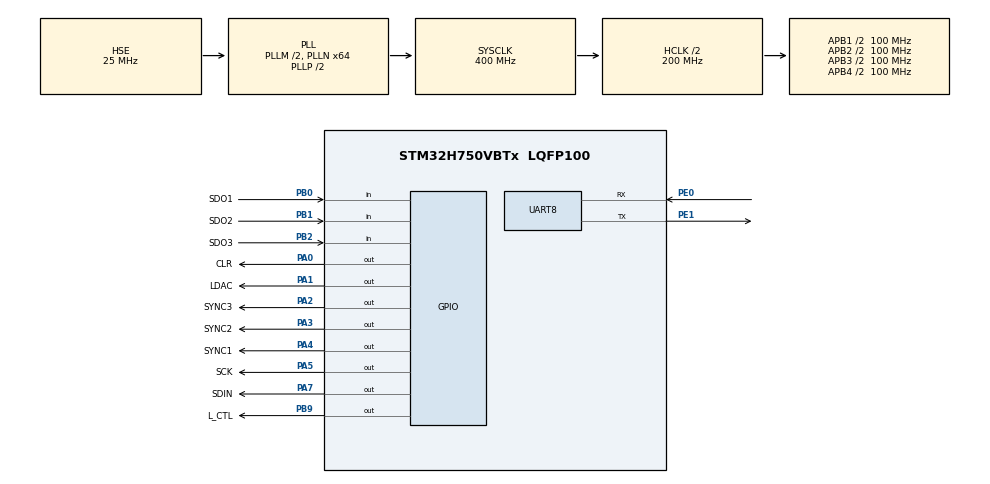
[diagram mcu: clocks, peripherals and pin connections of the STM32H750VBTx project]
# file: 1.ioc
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Mcu.Family=STM32H7
Mcu.Name=STM32H750VBTx
Mcu.Package=LQFP100
NVIC.PriorityGroup=NVIC_PRIORITYGROUP_4
NVIC.TIM2_IRQn=true\:0\:0\:false\:false\:true\:true\:true\:true
PA0.GPIO_Label=CLR
PA0.GPIO_PuPd=GPIO_PULLUP
PA0.GPIO_Speed=GPIO_SPEED_FREQ_HIGH
PA0.PinState=GPIO_PIN_RESET
PA0.Signal=GPIO_Output
PA1.GPIO_Label=LDAC
PA1.GPIO_PuPd=GPIO_PULLDOWN
PA1.GPIO_Speed=GPIO_SPEED_FREQ_HIGH
PA1.Signal=GPIO_Output
PA2.GPIO_Label=SYNC3
PA2.GPIO_PuPd=GPIO_PULLUP
PA2.GPIO_Speed=GPIO_SPEED_FREQ_HIGH
PA2.PinState=GPIO_PIN_RESET
PA2.Signal=GPIO_Output
PA3.GPIO_Label=SYNC2
PA3.GPIO_PuPd=GPIO_PULLUP
PA3.GPIO_Speed=GPIO_SPEED_FREQ_HIGH
PA3.PinState=GPIO_PIN_RESET
PA3.Signal=GPIO_Output
PA4.GPIO_Label=SYNC1
PA4.GPIO_PuPd=GPIO_PULLUP
PA4.GPIO_Speed=GPIO_SPEED_FREQ_HIGH
PA4.PinState=GPIO_PIN_RESET
PA4.Signal=GPIO_Output
PA5.GPIO_Label=SCK
PA5.Signal=GPIO_Output
PA7.GPIO_Label=SDIN
PA7.Signal=GPIO_Output
PB0.GPIO_Label=SDO1
PB0.GPIO_PuPd=GPIO_NOPULL
PB0.Signal=GPIO_Input
PB1.GPIO_Label=SDO2
PB1.Signal=GPIO_Input
PB2.GPIO_Label=SDO3
PB2.Signal=GPIO_Input
PB9.GPIO_Label=L_CTL
PB9.GPIO_PuPd=GPIO_PULLDOWN
PB9.GPIO_Speed=GPIO_SPEED_FREQ_HIGH
PB9.PinState=GPIO_PIN_RESET
PB9.Signal=GPIO_Output
PC14-OSC32_IN\ (OSC32_IN).Mode=LSE-External-Oscillator
PC14-OSC32_IN\ (OSC32_IN).Signal=RCC_OSC32_IN
PC15-OSC32_OUT\ (OSC32_OUT).Mode=LSE-External-Oscillator
PC15-OSC32_OUT\ (OSC32_OUT).Signal=RCC_OSC32_OUT
PE0.Mode=Asynchronous
PE0.Signal=UART8_RX
PE1.Mode=Asynchronous
PE1.Signal=UART8_TX
PH0-OSC_IN\ (PH0).Mode=HSE-External-Oscillator
PH0-OSC_IN\ (PH0).Signal=RCC_OSC_IN
PH1-OSC_OUT\ (PH1).Mode=HSE-External-Oscillator
PH1-OSC_OUT\ (PH1).Signal=RCC_OSC_OUT
ProjectManager.HeapSize=0x200
ProjectManager.StackSize=0x400
ProjectManager.TargetToolchain=STM32CubeIDE
RCC.ADCFreq_Value=50390625
RCC.APB1Freq_Value=100000000
RCC.APB2Freq_Value=100000000
RCC.APB3Freq_Value=100000000
RCC.APB4Freq_Value=100000000
RCC.CortexFreq_Value=400000000
RCC.D1PPRE=RCC_APB3_DIV2
RCC.D2PPRE1=RCC_APB1_DIV2
RCC.D2PPRE2=RCC_APB2_DIV2
RCC.D3PPRE=RCC_APB4_DIV2
RCC.DIVM1=2
RCC.DIVN1=64
RCC.HCLKFreq_Value=200000000
RCC.HPRE=RCC_HCLK_DIV2
RCC.HSE_VALUE=25000000
RCC.PLL2FRACN=0
RCC.PLL3FRACN=0
RCC.PLLFRACN=0
RCC.PLLSourceVirtual=RCC_PLLSOURCE_HSE
RCC.SYSCLKFreq_VALUE=400000000
RCC.SYSCLKSource=RCC_SYSCLKSOURCE_PLLCLK
RCC.USBFreq_Value=400000000
TIM2.Period=10000 - 1
TIM2.Prescaler=200 - 1
VP_TIM2_VS_ClockSourceINT.Mode=Internal
board=custom

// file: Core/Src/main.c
/* USER CODE BEGIN Header */
/**
  ******************************************************************************
  * @file           : main.c
  * @brief          : Main program body
  ******************************************************************************
  * @attention
  *
  * Copyright (c) 2025 STMicroelectronics.
  * All rights reserved.
  *
  * This software is licensed under terms that can be found in the LICENSE file
  * in the root directory of this software component.
  * If no LICENSE file comes with this software, it is provided AS-IS.
  *
  ******************************************************************************
  */
/* USER CODE END Header */
#include "main.h"
#include "tim.h"
#include "usart.h"
#include "gpio.h"

/* USER CODE BEGIN PTD */
uint32_t uwTick1[12];
uint16_t DAC_HIGH_COUNT[12];
uint16_t DAC_LOW_COUNT[12];
//各个DAC通道的选择
long int DAC_Channel[4];
long int DAC_HIGH_Value[12];
long int DAC_LOW_Value[12];
//片选端口
uint16_t DAC_CS_Port[3];
/* USER CODE END PTD */

void SystemClock_Config(void);

int main(void)
{

  /* MCU Configuration--------------------------------------------------------*/

  /* Reset of all peripherals, Initializes the Flash interface and the Systick. */
  HAL_Init();

  /* Configure the system clock */
  SystemClock_Config();

  /* Initialize all configured peripherals */
  MX_GPIO_Init();
  MX_UART8_Init();
  MX_TIM2_Init();
  /* USER CODE BEGIN 2 */
    for (int i = 0; i < 12; ++i) {
        DAC_HIGH_COUNT[i] = 100;
        DAC_LOW_COUNT[i] = 200;
        DAC_HIGH_Value[i] = 0x008000;
        DAC_LOW_Value[i] = 0x000000;
        uwTick1[i] = 0;
    }
    DAC_CS_Port[0] = SYNC1_Pin;
    DAC_CS_Port[1] = SYNC2_Pin;
    DAC_CS_Port[2] = SYNC3_Pin;
    DAC_Channel[0] = DAC_Channel_A;
    DAC_Channel[1] = DAC_Channel_B;
    DAC_Channel[2] = DAC_Channel_C;
    DAC_Channel[3] = DAC_Channel_D;
    HAL_GPIO_WritePin(CLR_GPIO_Port, CLR_Pin, GPIO_PIN_SET);
    long int cstr = 0;
    ConfigAD5754R();
  /* USER CODE END 2 */

  /* Infinite loop */
  while (1)
  {

    /* USER CODE BEGIN 3 */
      for (int i = 0; i < 12; ++i) {
          if (uwTick1[i] == DAC_HIGH_COUNT[i]) {
              cstr = DAC_Register | DAC_Channel[i % 4] | DAC_HIGH_Value[i];
              WriteToAD5754RViaSpi(&cstr);
          } else if (uwTick1[i] == DAC_LOW_COUNT[i]){
              cstr = DAC_Register | DAC_Channel[i % 4] | DAC_LOW_Value[i];		//VoutA=0v
              WriteToAD5754RViaSpi(&cstr);
              uwTick1[i] = 0;
          }
      }
  }
  /* USER CODE END 3 */
}

void SystemClock_Config(void)
{
  RCC_OscInitTypeDef RCC_OscInitStruct = {0};
  RCC_ClkInitTypeDef RCC_ClkInitStruct = {0};

  /** Supply configuration update enable
  */
  HAL_PWREx_ConfigSupply(PWR_LDO_SUPPLY);

  /** Configure the main internal regulator output voltage
  */
  __HAL_PWR_VOLTAGESCALING_CONFIG(PWR_REGULATOR_VOLTAGE_SCALE1);

  while(!__HAL_PWR_GET_FLAG(PWR_FLAG_VOSRDY)) {}

  /** Initializes the RCC Oscillators according to the specified parameters
  * in the RCC_OscInitTypeDef structure.
  */
  RCC_OscInitStruct.OscillatorType = RCC_OSCILLATORTYPE_HSE;
  RCC_OscInitStruct.HSEState = RCC_HSE_ON;
  RCC_OscInitStruct.PLL.PLLState = RCC_PLL_ON;
  RCC_OscInitStruct.PLL.PLLSource = RCC_PLLSOURCE_HSE;
  RCC_OscInitStruct.PLL.PLLM = 2;
  RCC_OscInitStruct.PLL.PLLN = 64;
  RCC_OscInitStruct.PLL.PLLP = 2;
  RCC_OscInitStruct.PLL.PLLQ = 2;
  RCC_OscInitStruct.PLL.PLLR = 2;
  RCC_OscInitStruct.PLL.PLLRGE = RCC_PLL1VCIRANGE_3;
  RCC_OscInitStruct.PLL.PLLVCOSEL = RCC_PLL1VCOWIDE;
  RCC_OscInitStruct.PLL.PLLFRACN = 0;
  if (HAL_RCC_OscConfig(&RCC_OscInitStruct) != HAL_OK)
  {
    Error_Handler();
  }

  /** Initializes the CPU, AHB and APB buses clocks
  */
  RCC_ClkInitStruct.ClockType = RCC_CLOCKTYPE_HCLK|RCC_CLOCKTYPE_SYSCLK
                              |RCC_CLOCKTYPE_PCLK1|RCC_CLOCKTYPE_PCLK2
                              |RCC_CLOCKTYPE_D3PCLK1|RCC_CLOCKTYPE_D1PCLK1;
  RCC_ClkInitStruct.SYSCLKSource = RCC_SYSCLKSOURCE_PLLCLK;
  RCC_ClkInitStruct.SYSCLKDivider = RCC_SYSCLK_DIV1;
  RCC_ClkInitStruct.AHBCLKDivider = RCC_HCLK_DIV2;
  RCC_ClkInitStruct.APB3CLKDivider = RCC_APB3_DIV2;
  RCC_ClkInitStruct.APB1CLKDivider = RCC_APB1_DIV2;
  RCC_ClkInitStruct.APB2CLKDivider = RCC_APB2_DIV2;
  RCC_ClkInitStruct.APB4CLKDivider = RCC_APB4_DIV2;

  if (HAL_RCC_ClockConfig(&RCC_ClkInitStruct, FLASH_LATENCY_2) != HAL_OK)
  {
    Error_Handler();
  }
}

void Error_Handler(void)
{
  __disable_irq();
  while (1)
  {
  }
}
